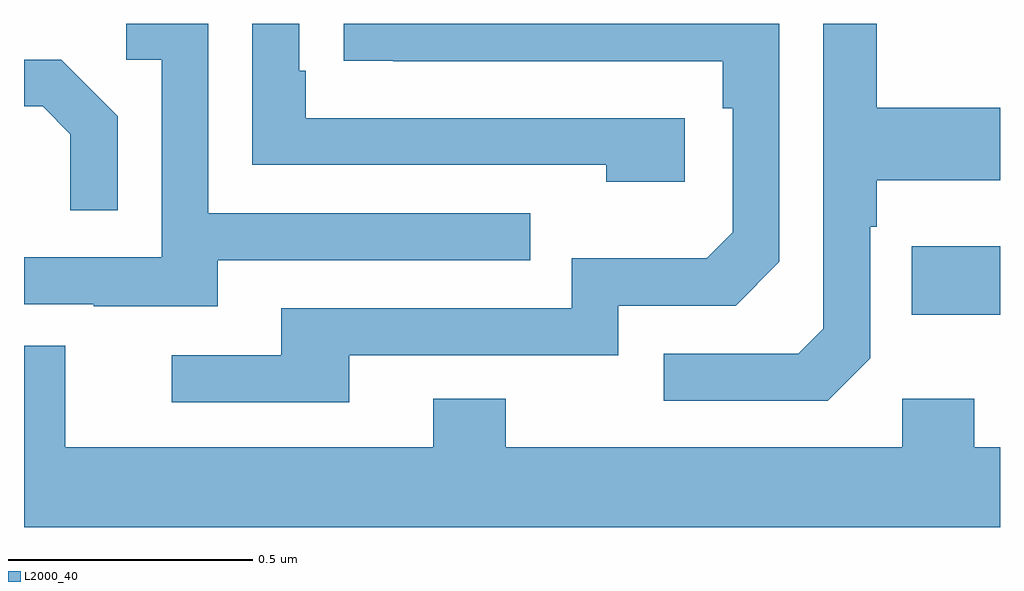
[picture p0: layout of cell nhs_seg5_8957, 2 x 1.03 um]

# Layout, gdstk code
import gdstk
lib = gdstk.Library(unit=1e-6, precision=1e-09)
def R(c, l, rs):  # rectangles x0, y0, x1, y1
    for r in rs: c.add(gdstk.rectangle(r[:2], r[2:], *l))
def P(c, l, *ps):  # polygons
    for p in ps: c.add(gdstk.Polygon(p, *l))
L2000_40 = (2000, 40)

nhs_seg5_8957 = lib.new_cell('nhs_seg5_8957')
R(nhs_seg5_8957, L2000_40, [(229.819,849.203,230,849.343)])
P(nhs_seg5_8957, L2000_40, [(229.354,849.606),(228.577,849.606),(228.577,849.703),(228.564,849.703),(228.564,849.799),(228.468,849.799),(228.468,849.51),(229.193,849.51),(229.193,849.476),(229.354,849.476)],
  [(228.397,849.315),(229.037,849.315),(229.037,849.411),(228.378,849.411),(228.378,849.799),(228.21,849.799),(228.21,849.726),(228.282,849.726),(228.282,849.321),(228,849.321),(228,849.225),(228.143,849.225),(228.143,849.221),(228.397,849.221)],
  [(228.667,849.12),(229.218,849.12),(229.218,849.222),(229.458,849.222),(229.548,849.312),(229.548,849.799),(228.655,849.799),(228.655,849.724),(228.757,849.724),(228.757,849.723),(229.432,849.723),(229.432,849.626),(229.452,849.626),(229.452,849.372),(229.399,849.319),(229.122,849.319),(229.122,849.216),(228.527,849.216),(228.527,849.12),(228.303,849.12),(228.303,849.024),(228.667,849.024)],
  [(229.734,849.114),(229.734,849.383),(229.747,849.383),(229.747,849.479),(230,849.479),(230,849.627),(229.747,849.627),(229.747,849.799),(229.638,849.799),(229.638,849.174),(229.587,849.123),(229.311,849.123),(229.311,849.027),(229.647,849.027)],
  [(228.192,849.61),(228.076,849.726),(228,849.726),(228,849.63),(228.038,849.63),(228.095,849.573),(228.095,849.417),(228.192,849.417)],
  [(230,848.932),(229.947,848.932),(229.947,849.031),(229.8,849.031),(229.8,848.932),(228.987,848.932),(228.987,849.031),(228.839,849.031),(228.839,848.932),(228.085,848.932),(228.085,849.14),(228,849.14),(228,848.768),(230,848.768)])

lib.write_gds('nhs_seg5_8957.gds')
